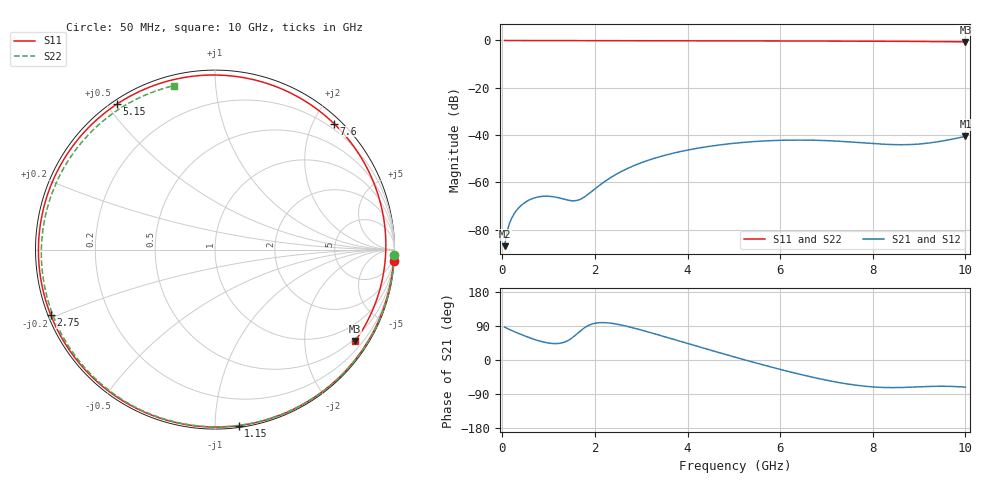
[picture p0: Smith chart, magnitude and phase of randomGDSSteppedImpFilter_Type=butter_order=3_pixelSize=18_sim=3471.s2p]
! freq	dB(S11)	phase(S11)	dB(S12)	phase(S12)
!  dB(S21)	phase(S21)	dB(S22)	phase(S22)
!S-par simulation data
#  GHz  S  DB  R 50
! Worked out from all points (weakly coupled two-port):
!   200 points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, 50 MHz to 10 GHz, reference 50 ohm
!   highest |S21| = -40.55 dB at 10 GHz (marker M1); lowest = -86.9 dB at 50 MHz (marker M2)
!   lowest |S11| = -0.6 dB at 10 GHz (marker M3), VSWR 28.55, Z = 21.3 - j166 ohm
!   |S11| at or under -10 dB: nowhere
!   |S22| runs from -0.5 to 0.0 dB; largest |S21 - S12| = 0
!   S11 on the Smith chart (normalised r, x): 50 MHz: 1, -30; 1.15 GHz: 0.01, -1.14; 2.75 GHz: 0.01, -0.19; 5.15 GHz: 0.01, +0.53; 7.6 GHz: 0.11, +2.32; 10 GHz: 0.43, -3.31
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0.05  -0.01 -3.8  -86.91 86.6  -86.91 86.6  -0.02 -1.7
0.1  -0.03 -7.7  -80.98 83.5  -80.98 83.5  -0.02 -3.4
0.2  -0.04 -15.5  -75.21 77.9  -75.21 77.9  -0.02 -6.8
0.3  -0.05 -23.2  -71.98 72.7  -71.98 72.7  -0.02 -10.2
0.5  -0.06 -38.3  -68.30 62.8  -68.30 62.8  -0.03 -17.0
0.8  -0.07 -59.7  -66.03 50.3  -66.03 50.3  -0.04 -27.1
1.15  -0.09 -82.4  -66.17 43.3  -66.17 43.3  -0.05 -38.7
1.55  -0.11 -105.1  -67.75 62.6  -67.75 62.6  -0.06 -51.5
1.75  -0.11 -115.4  -66.41 82.9  -66.41 82.9  -0.07 -57.8
2.25  -0.12 -138.3  -59.08 98.3  -59.08 98.3  -0.09 -72.9
2.75  -0.13 -158.2  -53.68 87.2  -53.68 87.2  -0.11 -87.3
3.4  -0.14 178.9  -49.12 65.2  -49.12 65.2  -0.13 -104.8
4.2  -0.17 153.2  -45.59 36.5  -45.59 36.5  -0.16 -124.9
5.05  -0.19 127.1  -43.36 6.7  -43.36 6.7  -0.19 -144.9
5.15  -0.20 124.0  -43.17 3.3  -43.17 3.3  -0.20 -147.1
5.95  -0.23 99.4  -42.23 -23.2  -42.23 -23.2  -0.24 -164.9
6.7  -0.26 75.8  -42.15 -45.5  -42.15 -45.5  -0.29 178.8
7.15  -0.28 61.3  -42.46 -56.9  -42.46 -56.9  -0.32 169.1
7.6  -0.31 46.6  -43.00 -65.9  -43.00 -65.9  -0.35 159.3
8.35  -0.36 21.7  -43.94 -72.8  -43.94 -72.8  -0.41 142.7
9.15  -0.45 -4.9  -43.48 -70.1  -43.48 -70.1  -0.47 124.4
10  -0.61 -33.1  -40.55 -71.7  -40.55 -71.7  -0.52 104.1
